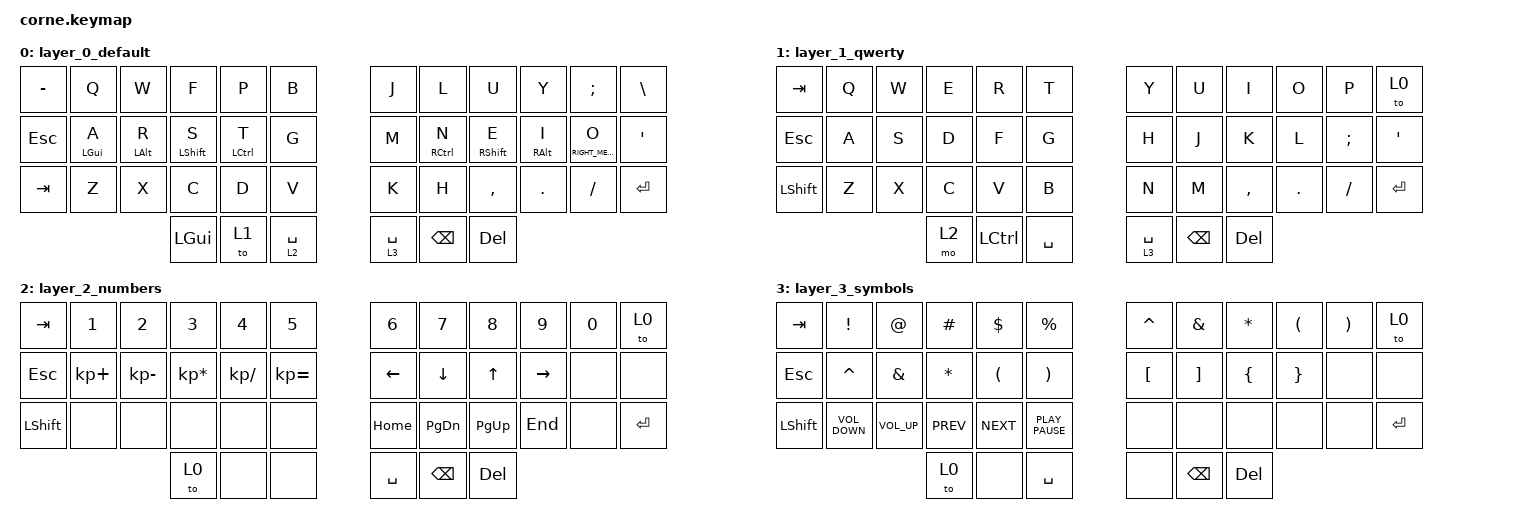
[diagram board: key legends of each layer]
/*
 * Copyright (c) 2020 The ZMK Contributors
 *
 * SPDX-License-Identifier: MIT
 */

#include <behaviors.dtsi>
#include <dt-bindings/zmk/keys.h>

&mt { flavor = "tap-preferred"; };

/ {
    keymap {
        compatible = "zmk,keymap";

        layer_0_default {
            // -----------------------------------------------------------------------------------------
            // |  TAB |  Q  |  W  |  E  |  R  |  T  |   |  Y  |  U   |  I  |  O  |  P  | BKSP |
            // | CTRL |  A  |  S  |  D  |  F  |  G  |   |  H  |  J   |  K  |  L  |  ;  |  '   |
            // | SHFT |  Z  |  X  |  C  |  V  |  B  |   |  N  |  M   |  ,  |  .  |  /  | ESC  |
            //                    | GUI | LWR | SPC |   | ENT | RSE  | ALT |

            bindings = <
&kp MINUS   &kp Q       &kp W           &kp F             &kp P        &kp B          &kp J        &kp L          &kp U        &kp Y       &kp SEMICOLON     &kp BACKSLASH
&kp ESCAPE  &mt LGUI A  &mt LEFT_ALT R  &mt LEFT_SHIFT S  &mt LCTRL T  &kp G          &kp M        &mt RCTRL N    &mt RSHFT E  &mt RALT I  &mt RIGHT_META O  &kp SQT
&kp TAB     &kp Z       &kp X           &kp C             &kp D        &kp V          &kp K        &kp H          &kp COMMA    &kp DOT     &kp FSLH          &kp ENTER
                                        &kp LGUI          &to 1        &lt 2 SPACE    &lt 3 SPACE  &kp BACKSPACE  &kp DELETE
            >;
        };

        layer_1_qwerty {
            bindings = <
&kp TAB     &kp Q  &kp W  &kp E  &kp R      &kp T        &kp Y        &kp U          &kp I       &kp O    &kp P     &to 0
&kp ESCAPE  &kp A  &kp S  &kp D  &kp F      &kp G        &kp H        &kp J          &kp K       &kp L    &kp SEMI  &kp SQT
&kp LSHFT   &kp Z  &kp X  &kp C  &kp V      &kp B        &kp N        &kp M          &kp COMMA   &kp DOT  &kp FSLH  &kp ENTER
                          &mo 2  &kp LCTRL  &kp SPACE    &lt 3 SPACE  &kp BACKSPACE  &kp DELETE
            >;
        };

        layer_2_numbers {
            // -----------------------------------------------------------------------------------------
            // |  TAB |  1  |  2  |  3  |  4  |  5  |   |  6  |  7  |  8  |  9  |  0  | BKSP |
            // | BTCLR| BT1 | BT2 | BT3 | BT4 | BT5 |   | LFT | DWN |  UP | RGT |     |      |
            // | SHFT |     |     |     |     |     |   |     |     |     |     |     |      |
            //                    | GUI |     | SPC |   | ENT |     | ALT |

            bindings = <
&kp TAB    &kp N1       &kp N2        &kp N3           &kp N4         &kp N5          &kp N6     &kp N7         &kp N8       &kp N9     &kp N0  &to 0
&kp ESC    &kp KP_PLUS  &kp KP_MINUS  &kp KP_MULTIPLY  &kp KP_DIVIDE  &kp KP_EQUAL    &kp LEFT   &kp DOWN       &kp UP       &kp RIGHT  &none   &none
&kp LSHFT  &none        &none         &none            &none          &none           &kp HOME   &kp PAGE_DOWN  &kp PAGE_UP  &kp END    &none   &kp ENTER
                                      &to 0            &none          &none           &kp SPACE  &kp BACKSPACE  &kp DELETE
            >;
        };

        layer_3_symbols {
            // -----------------------------------------------------------------------------------------
            // |  TAB |  !  |  @  |  #  |  $  |  %  |   |  ^  |  &  |  *  |  (  |  )  | BKSP |
            // | CTRL |     |     |     |     |     |   |  -  |  =  |  [  |  ]  |  \  |  `   |
            // | SHFT |     |     |     |     |     |   |  _  |  +  |  {  |  }  | "|" |  ~   |
            //                    | GUI |     | SPC |   | ENT |     | ALT |

            bindings = <
&kp TAB     &kp EXCL           &kp AT           &kp HASH      &kp DLLR              &kp PRCNT                &kp CARET  &kp AMPS       &kp ASTRK   &kp LPAR  &kp RPAR  &to 0
&kp ESCAPE  &kp CARET          &kp AMPERSAND    &kp ASTERISK  &kp LEFT_PARENTHESIS  &kp RIGHT_PARENTHESIS    &kp LBKT   &kp RBKT       &kp LBRC    &kp RBRC  &none     &none
&kp LSHFT   &kp K_VOLUME_DOWN  &kp K_VOLUME_UP  &kp K_PREV    &kp K_NEXT            &kp K_PLAY_PAUSE         &none      &none          &none       &none     &none     &kp ENTER
                                                &to 0         &none                 &kp SPACE                &none      &kp BACKSPACE  &kp DELETE
            >;
        };
    };
};
